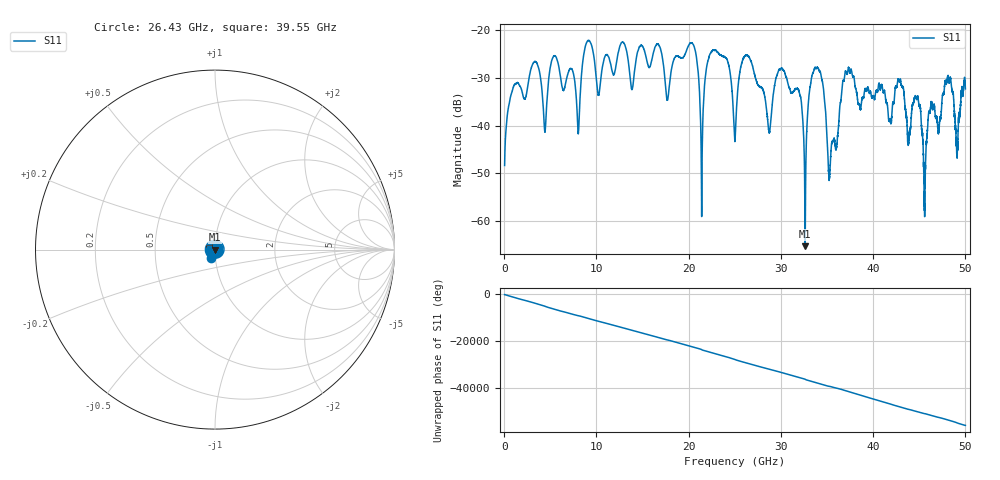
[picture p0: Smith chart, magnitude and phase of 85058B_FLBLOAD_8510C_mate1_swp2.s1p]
!Created with skrf (http://scikit-rf.org).
# Hz S RI R 50.0
!freq ReS11 ImS11
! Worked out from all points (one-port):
!   10001 points, 45 MHz to 50 GHz, reference 50 ohm
!   lowest |S11| = -65.2 dB at 32.63 GHz (marker M1), VSWR 1.00, Z = 50 - j0.0547 ohm
!   |S11| at or under -10 dB: start of sweep to end of sweep
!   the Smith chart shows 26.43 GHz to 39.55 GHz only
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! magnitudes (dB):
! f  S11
! 45 MHz  -48.3
! 3.212 GHz  -26.7
! 4.396 GHz  -41.1
! 5.305 GHz  -25.7
! 6.289 GHz  -32.0
! 12.53 GHz  -23.4
! 18.78 GHz  -25.4
! 20.58 GHz  -23.4
! 21.42 GHz  -56.8
! 22.22 GHz  -25.5
! 23.97 GHz  -25.8
! 25.02 GHz  -42.9
! 26.19 GHz  -25.2
! 28.71 GHz  -41.2
! 29.85 GHz  -28.2
! 31.27 GHz  -33.1
! 32.63 GHz  -65.2
! 33.58 GHz  -28.4
! 35.28 GHz  -50.1
! 37.51 GHz  -28.8
! 42.89 GHz  -30.4
! 43.76 GHz  -43.1
! 44.81 GHz  -34.0
! 45.61 GHz  -54.8
! 46.22 GHz  -36.2
! 48.24 GHz  -30.8
! 49.11 GHz  -46.8
! 50 GHz  -32.3
